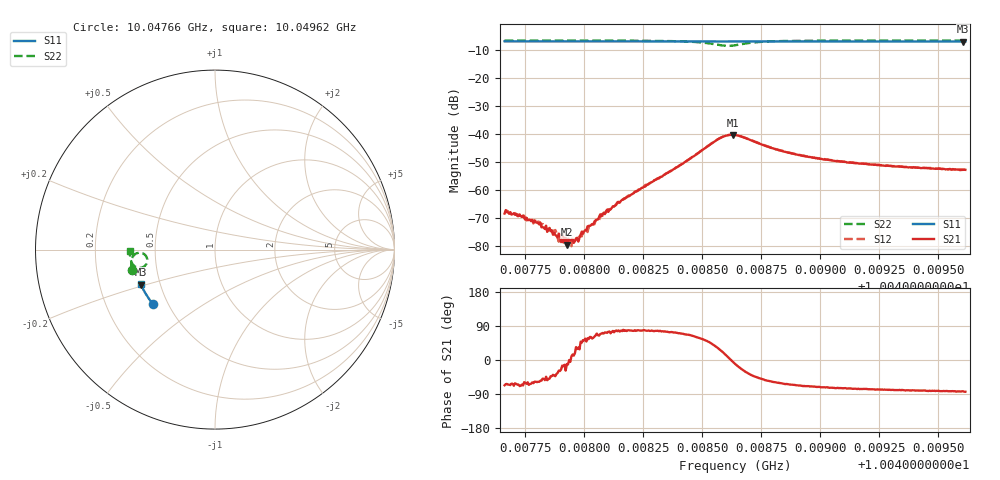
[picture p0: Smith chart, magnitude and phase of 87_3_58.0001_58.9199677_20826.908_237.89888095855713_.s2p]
#  HZ  S  RI  R  50.00
! Rohde & Schwarz Vector Network Analyzer
! Rohde-Schwarz,ZNB20-2Port,1311601062101988,3.16
! Created: UTC 3/21/2024, 12:54:09 AM
! freq[Hz]  re:S11  im:S11  re:S21  im:S21  re:S12  im:S12  re:S22  im:S22
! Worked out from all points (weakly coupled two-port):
!   401 points, 10.04766 GHz to 10.04962 GHz, reference 50 ohm
!   highest |S21| = -40.16 dB at 10.04863 GHz (marker M1); lowest = -79.4 dB at 10.04793 GHz (marker M2)
!   lowest |S11| = -6.8 dB at 10.04961 GHz (marker M3), VSWR 2.68, Z = 19.5 - j9.57 ohm
!   |S11| at or under -10 dB: nowhere
!   |S22| runs from -8.4 to -6.4 dB; largest |S21 - S12| = 0.00068
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1.0047663e10  -0.3455 -0.3035  0.000153 -0.000354  0.000209 -0.000373  -0.4622 -0.1156
1.0047737e10  -0.3487 -0.2996  0.000142 -0.000303  0.000186 -0.000295  -0.4631 -0.1102
1.0047805e10  -0.3515 -0.2961  0.000141 -0.00022  0.000154 -0.000229  -0.464 -0.1051
1.0047844e10  -0.353 -0.294  0.000108 -0.000145  0.000116 -0.000151  -0.4645 -0.1019
1.0047868e10  -0.3541 -0.2927  0.000125 -0.000102  0.000155 -0.000126  -0.4646 -0.1
1.0047893e10  -0.3551 -0.2915  0.000149 -7.96e-05  0.000108 -5.56e-05  -0.4649 -0.098
1.0047927e10  -0.3565 -0.2897  0.000105 -1.96e-05  0.000149 -2.81e-05  -0.4653 -0.0952
1.0047956e10  -0.3575 -0.2881  0.000113 2.31e-05  0.00011 5.33e-05  -0.4656 -0.0928
1.0047966e10  -0.3581 -0.2876  0.000115 7.82e-05  0.000125 4.18e-05  -0.4656 -0.0919
1.004799e10  -0.3591 -0.2863  0.000127 0.000132  0.000102 0.000111  -0.466 -0.0898
1.0048073e10  -0.3622 -0.2818  0.00012 0.000323  0.000137 0.000352  -0.4666 -0.0824
1.0048112e10  -0.3639 -0.2798  0.000153 0.000432  0.000136 0.000447  -0.4666 -0.0788
1.0048151e10  -0.3653 -0.2777  0.000155 0.000587  0.000104 0.000604  -0.4667 -0.0747
1.0048317e10  -0.3718 -0.2686  0.000395 0.00158  0.000298 0.00165  -0.4643 -0.0546
1.0048566e10  -0.3801 -0.2544  0.00693 0.00429  0.00666 0.00471  -0.399 -0.0225
1.004863e10  -0.3819 -0.2513  0.00979 -0.000755  0.00988 -9.79e-05  -0.3788 -0.0713
1.0048639e10  -0.3823 -0.2508  0.00958 -0.0017  0.00975 -0.00109  -0.3822 -0.0793
1.0048815e10  -0.3888 -0.2414  0.00275 -0.0046  0.00303 -0.0045  -0.4541 -0.0869
1.0048966e10  -0.394 -0.2327  0.00133 -0.00361  0.00157 -0.00358  -0.467 -0.0651
1.0049293e10  -0.4041 -0.2134  0.000554 -0.00268  0.000688 -0.00266  -0.4738 -0.0332
1.0049605e10  -0.4128 -0.1947  0.000304 -0.0023  0.000412 -0.00232  -0.4752 -0.00886
1.0049615e10  -0.4132 -0.194  0.000249 -0.00231  0.000393 -0.00232  -0.4752 -0.00807
